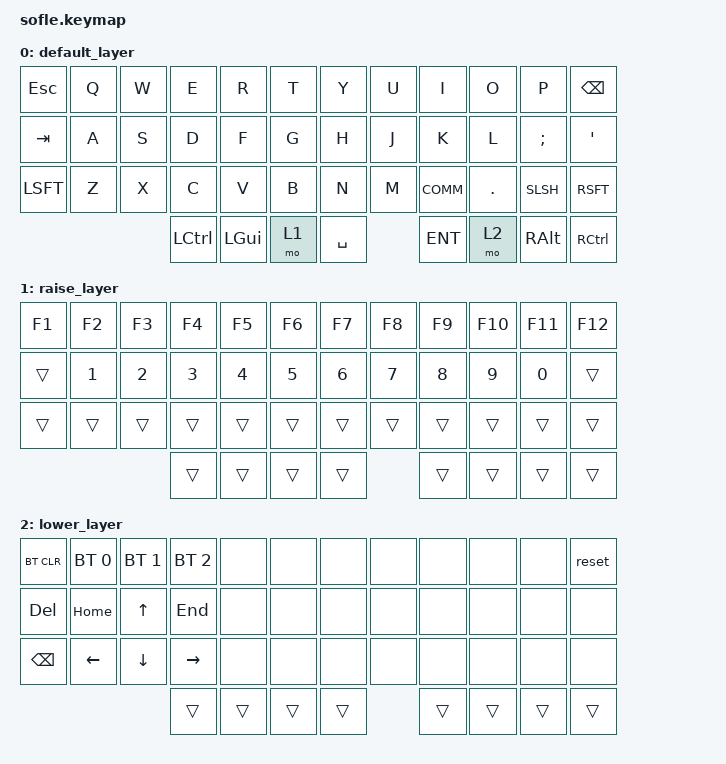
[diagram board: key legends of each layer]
#include <behaviors.dtsi>
#include <dt-bindings/zmk/keys.h>
#include <dt-bindings/zmk/bt.h>
#include <dt-bindings/zmk/display.h>

/ {
    chosen {
        zmk,matrix_transform = &sofle_transform;
        zmk,display = &oled;
    };

    oled: display {
        compatible = "solomon,ssd1306fb";
        i2c-bus = <&i2c0>;
        reg = <0x3c>;
        width = <128>;
        height = <64>;
        status = "okay";

        layers {
            compatible = "zmk,display-layers";

            default_layer {
                label = "BASE";
                format = "SOFLE\n[%l] %b%% %c\nBT:%t\nWPM:%w";
            };

            raise_layer {
                label = "RAISE";
                format = "SOFLE\n[%l] %b%% %c\nBT:%t\nWPM:%w";
            };

            lower_layer {
                label = "LOWER";
                format = "SOFLE\n[%l] %b%% %c\nBT:%t\nWPM:%w";
            };
        };

        widgets {
            compatible = "zmk,display-widgets";

            battery {
                compatible = "zmk,display-widget-battery";
                position = <0 0>;
                size = <32 16>;
            };

            bluetooth {
                compatible = "zmk,display-widget-bluetooth";
                position = <96 0>;
                size = <32 16>;
            };

            layer {
                compatible = "zmk,display-widget-layer";
                position = <0 48>;
                size = <128 16>;
            };

            wpm {
                compatible = "zmk,display-widget-wpm";
                position = <64 32>;
                size = <64 16>;
            };
        };

        status {
            compatible = "zmk,display-status";
            format = "SOFLE\nLAYER:%l BAT:%b%%\n%t | WPM:%w";
            refresh-ms = <1000>;
        };
    };

    keymap {
        compatible = "zmk,keymap";

        default_layer {
            bindings = <
&kp ESC  &kp Q &kp W &kp E &kp R &kp T    &kp Y &kp U &kp I &kp O &kp P &kp BSPC
&kp TAB  &kp A &kp S &kp D &kp F &kp G    &kp H &kp J &kp K &kp L &kp SEMI &kp QUOT
&kp LSFT &kp Z &kp X &kp C &kp V &kp B    &kp N &kp M &kp COMM &kp DOT &kp SLSH &kp RSFT
                   &kp LCTL &kp LGUI &mo 1 &kp SPC &kp ENT &mo 2 &kp RALT &kp RCTL
            >;
        };

        raise_layer {
            bindings = <
&kp F1 &kp F2 &kp F3 &kp F4 &kp F5 &kp F6 &kp F7 &kp F8 &kp F9 &kp F10 &kp F11 &kp F12
&trans &kp 1 &kp 2 &kp 3 &kp 4 &kp 5 &kp 6 &kp 7 &kp 8 &kp 9 &kp 0 &trans
&trans &trans &trans &trans &trans &trans &trans &trans &trans &trans &trans &trans
                   &trans &trans &trans &trans &trans &trans &trans &trans
            >;
        };

        lower_layer {
            bindings = <
&bt BT_CLR &bt BT_SEL 0 &bt BT_SEL 1 &bt BT_SEL 2 &none &none &none &none &none &none &none &reset
&kp DEL &kp HOME &kp UP &kp END &none &none &none &none &none &none &none &none
&kp BSPC &kp LEFT &kp DOWN &kp RIGHT &none &none &none &none &none &none &none &none
                  &trans &trans &trans &trans &trans &trans &trans &trans
            >;
        };
    };
};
